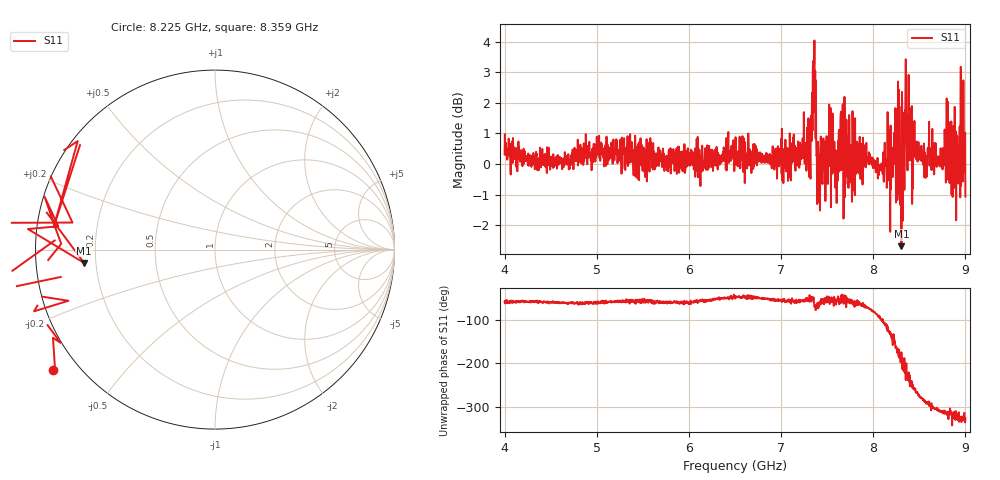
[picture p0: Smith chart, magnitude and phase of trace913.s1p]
! Created with skrf 1.8.0 (http://scikit-rf.org).
# Hz S RI R 50.0
!freq ReS11 ImS11
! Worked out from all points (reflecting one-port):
!   1601 points, 4 GHz to 9 GHz, reference 50 ohm
!   lowest |S11| = -2.7 dB at 8.306 GHz (marker M1), VSWR 6.51, Z = 7.71 - j2.46 ohm
!   phase of S11 starts at -58 deg and turns -269 deg over the sweep
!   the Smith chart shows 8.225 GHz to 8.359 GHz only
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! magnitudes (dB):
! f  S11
! 4 GHz  0.3
! 4.625 GHz  -0.2
! 5.25 GHz  0.1
! 5.875 GHz  0.2
! 6.5 GHz  0.0
! 7.125 GHz  0.3
! 7.294 GHz  0.7
! 7.353 GHz  3.3
! 7.412 GHz  -1.3
! 7.512 GHz  0.6
! 7.609 GHz  0.4
! 7.65 GHz  1.7
! 7.703 GHz  0.0
! 7.75 GHz  -0.6
! 8.094 GHz  -0.1
! 8.209 GHz  0.3
! 8.259 GHz  1.8
! 8.306 GHz  -2.7
! 8.316 GHz  1.3
! 8.338 GHz  -0.8
! 8.375 GHz  0.9
! 8.412 GHz  0.6
! 8.556 GHz  -0.4
! 8.728 GHz  -0.1
! 8.822 GHz  0.4
! 8.875 GHz  1.0
! 8.972 GHz  0.3
! 9 GHz  -1.1
